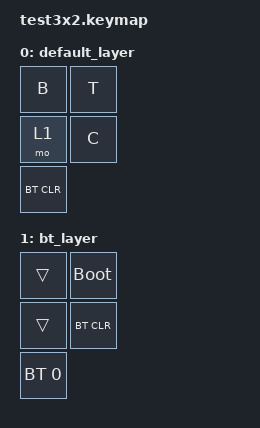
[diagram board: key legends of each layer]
#include <behaviors.dtsi>
#include <dt-bindings/zmk/keys.h>
#include <dt-bindings/zmk/bt.h>

/ {  
    keymap {
        compatible = "zmk,keymap";

        default_layer {
            bindings = <
                &kp B     &kp T
                &mo 1     &kp C
                &bt BT_CLR
            >;
        }; 
        
        bt_layer {
            bindings = <
                &trans     &bootloader
                &trans     &bt BT_CLR
                &bt BT_SEL 0
            >;
        };
    };
};
